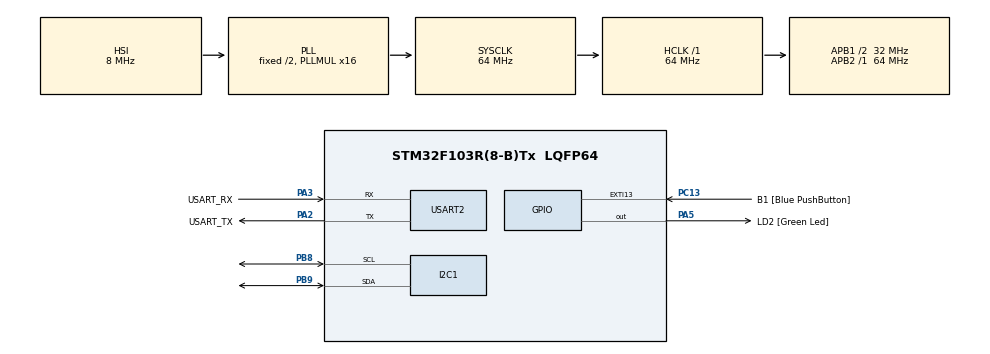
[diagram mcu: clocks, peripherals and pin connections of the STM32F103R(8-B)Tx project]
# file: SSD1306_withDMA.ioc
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Mcu.Family=STM32F1
PC15-OSC32_OUT.Mode=LSE-External-Oscillator
NVIC.DMA1_Channel6_IRQn=true\:0\:0\:false\:false\:true\:false\:true
PA2.GPIO_PuPd=GPIO_NOPULL
Dma.I2C1_TX.0.Instance=DMA1_Channel6
PD1-OSC_OUT.Mode=HSE-External-Clock-Source
NVIC.I2C1_EV_IRQn=true\:0\:0\:false\:false\:true\:true\:true
Dma.I2C1_TX.0.PeriphDataAlignment=DMA_PDATAALIGN_BYTE
Dma.I2C1_TX.0.Direction=DMA_MEMORY_TO_PERIPH
PA14.GPIO_Label=TCK
PA3.GPIO_PuPd=GPIO_NOPULL
PA2.GPIO_Speed=GPIO_SPEED_FREQ_LOW
PC13-TAMPER-RTC.Signal=GPXTI13
PD0-OSC_IN.Signal=RCC_OSC_IN
RCC.APB1CLKDivider=RCC_HCLK_DIV2
PC14-OSC32_IN.Signal=RCC_OSC32_IN
PA3.GPIO_Speed=GPIO_SPEED_FREQ_LOW
RCC.SYSCLKSource=RCC_SYSCLKSOURCE_PLLCLK
ProjectManager.StackSize=0x400
PD1-OSC_OUT.Signal=RCC_OSC_OUT
PA3.Mode=Asynchronous
PA13.Signal=SYS_JTMS-SWDIO
ProjectManager.TargetToolchain=STM32CubeIDE
I2C1.I2C_Mode=I2C_Fast
PA3.GPIO_Mode=GPIO_MODE_AF_PP
RCC.HCLKFreq_Value=64000000
PB9.Mode=I2C
RCC.APB2TimFreq_Value=64000000
Dma.I2C1_TX.0.Priority=DMA_PRIORITY_LOW
RCC.USBFreq_Value=64000000
PC15-OSC32_OUT.Signal=RCC_OSC32_OUT
RCC.AHBFreq_Value=64000000
PD0-OSC_IN.Mode=HSE-External-Clock-Source
NVIC.EXTI15_10_IRQn=true\:0\:0\:false\:false\:true\:true\:true
PA5.Signal=GPIO_Output
board=NUCLEO-F103RB
RCC.RTCClockSelection=RCC_RTCCLKSOURCE_LSE
PC13-TAMPER-RTC.GPIO_Label=B1 [Blue PushButton]
RCC.PLLMUL=RCC_PLL_MUL16
RCC.APB2Freq_Value=64000000
PC14-OSC32_IN.Mode=LSE-External-Oscillator
PA5.GPIO_ModeDefaultOutputPP=GPIO_MODE_OUTPUT_PP
PA14.Mode=Serial_Wire
Dma.I2C1_TX.0.MemInc=DMA_MINC_ENABLE
PA5.GPIO_PuPd=GPIO_NOPULL
PA13.Mode=Serial_Wire
Mcu.Name=STM32F103R(8-B)Tx
PA2.Signal=USART2_TX
PA13.GPIO_Label=TMS
PB3.Signal=SYS_JTDO-TRACESWO
RCC.SYSCLKFreq_VALUE=64000000
Dma.I2C1_TX.0.PeriphInc=DMA_PINC_DISABLE
Mcu.Package=LQFP64
PB9.Signal=I2C1_SDA
PA5.GPIO_Label=LD2 [Green Led]
USART2.VirtualMode=VM_ASYNC
PC13-TAMPER-RTC.GPIO_PuPd=GPIO_NOPULL
PA2.GPIO_Label=USART_TX
PA14.Signal=SYS_JTCK-SWCLK
ProjectManager.HeapSize=0x200
Dma.I2C1_TX.0.MemDataAlignment=DMA_MDATAALIGN_BYTE
PA5.GPIO_Speed=GPIO_SPEED_FREQ_LOW
NVIC.PriorityGroup=NVIC_PRIORITYGROUP_4
PB8.Mode=I2C
RCC.APB1TimFreq_Value=64000000
PA2.Mode=Asynchronous
PB8.Signal=I2C1_SCL
Dma.I2C1_TX.0.Mode=DMA_NORMAL
Dma.Request0=I2C1_TX
RCC.APB1Freq_Value=32000000
PA3.GPIO_Label=USART_RX
PA3.Signal=USART2_RX
PA2.GPIO_Mode=GPIO_MODE_AF_PP
PB3.GPIO_Label=SWO

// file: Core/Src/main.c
/* USER CODE BEGIN Header */
/**
  ******************************************************************************
  * @file           : main.c
  * @brief          : Main program body
  ******************************************************************************
  * @attention
  *
  * <h2><center>&copy; Copyright (c) 2021 STMicroelectronics.
  * All rights reserved.</center></h2>
  *
  * This software component is licensed by ST under BSD 3-Clause license,
  * the "License"; You may not use this file except in compliance with the
  * License. You may obtain a copy of the License at:
  *                        opensource.org/licenses/BSD-3-Clause
  *
  ******************************************************************************
  */
/* USER CODE END Header */
#include "main.h"
#include "dma.h"
#include "i2c.h"
#include "usart.h"
#include "gpio.h"

/* USER CODE BEGIN Includes */
#include "ssd1306.h"
#include "image.h"
/* USER CODE END Includes */

void SystemClock_Config(void);

/* USER CODE BEGIN 0 */
void drawLines()
{
  for (int16_t i = 0; i < ssd1306_GetWidth(); i += 4)
  {
    ssd1306_DrawLine(0, 0, i, ssd1306_GetHeight() - 1);
    ssd1306_UpdateScreen();
    HAL_Delay(10);
  }
  for (int16_t i = 0; i < ssd1306_GetHeight(); i += 4)
  {
    ssd1306_DrawLine(0, 0, ssd1306_GetWidth() - 1, i);
    ssd1306_UpdateScreen();
    HAL_Delay(10);
  }
  HAL_Delay(250);

  ssd1306_Clear();
  for (int16_t i = 0; i < ssd1306_GetWidth(); i += 4)
  {
   ssd1306_DrawLine(0, ssd1306_GetHeight() - 1, i, 0);
   ssd1306_UpdateScreen();
   HAL_Delay(10);
  }
  for (int16_t i = ssd1306_GetHeight() - 1; i >= 0; i -= 4)
  {
   ssd1306_DrawLine(0, ssd1306_GetHeight() - 1, ssd1306_GetWidth() - 1, i);
   ssd1306_UpdateScreen();
   HAL_Delay(10);
  }
  HAL_Delay(250);
  ssd1306_Clear();
  for (int16_t i = ssd1306_GetWidth() - 1; i >= 0; i -= 4)
  {
    ssd1306_DrawLine(ssd1306_GetWidth() - 1, ssd1306_GetHeight() - 1, i, 0);
    ssd1306_UpdateScreen();
    HAL_Delay(10);
  }
  for (int16_t i = ssd1306_GetHeight() - 1; i >= 0; i -= 4)
  {
    ssd1306_DrawLine(ssd1306_GetWidth() - 1, ssd1306_GetHeight() - 1, 0, i);
    ssd1306_UpdateScreen();
    HAL_Delay(10);
  }
  HAL_Delay(250);
  ssd1306_Clear();
  for (int16_t i = 0; i < ssd1306_GetHeight(); i += 4)
  {
    ssd1306_DrawLine(ssd1306_GetWidth() - 1, 0, 0, i);
    ssd1306_UpdateScreen();
    HAL_Delay(10);
  }
  for (int16_t i = 0; i < ssd1306_GetWidth(); i += 4)
  {
    ssd1306_DrawLine(ssd1306_GetWidth() - 1, 0, i, ssd1306_GetHeight() - 1);
    ssd1306_UpdateScreen();
    HAL_Delay(10);
  }
  HAL_Delay(250);
}

// Adapted from Adafruit_SSD1306
void drawRect(void)
{
  for (int16_t i = 0; i < ssd1306_GetHeight() / 2; i += 2)
  {
    ssd1306_DrawRect(i, i, ssd1306_GetWidth() - 2 * i, ssd1306_GetHeight() - 2 * i);
    ssd1306_UpdateScreen();
    HAL_Delay(10);
  }
}

// Adapted from Adafruit_SSD1306
void fillRect(void) {
  uint8_t color = 1;
  for (int16_t i = 0; i < ssd1306_GetHeight() / 2; i += 3)
  {
    ssd1306_SetColor((color % 2 == 0) ? Black : White); // alternate colors
    ssd1306_FillRect(i, i, ssd1306_GetWidth() - i * 2, ssd1306_GetHeight() - i * 2);
    ssd1306_UpdateScreen();
    HAL_Delay(10);
    color++;
  }
  // Reset back to WHITE
  ssd1306_SetColor(White);
}

// Adapted from Adafruit_SSD1306
void drawCircle(void)
{
  for (int16_t i = 0; i < ssd1306_GetHeight(); i += 2)
  {
    ssd1306_DrawCircle(ssd1306_GetWidth() / 2, ssd1306_GetHeight() / 2, i);
    ssd1306_UpdateScreen();
    HAL_Delay(10);
  }
  HAL_Delay(1000);
  ssd1306_Clear();

  // This will draw the part of the circel in quadrant 1
  // Quadrants are numberd like this:
  //   0010 | 0001
  //  ------|-----
  //   0100 | 1000
  //
  ssd1306_DrawCircleQuads(ssd1306_GetWidth() / 2, ssd1306_GetHeight() / 2, ssd1306_GetHeight() / 4, 0b00000001);
  ssd1306_UpdateScreen();
  HAL_Delay(200);
  ssd1306_DrawCircleQuads(ssd1306_GetWidth() / 2, ssd1306_GetHeight() / 2, ssd1306_GetHeight() / 4, 0b00000011);
  ssd1306_UpdateScreen();
  HAL_Delay(200);
  ssd1306_DrawCircleQuads(ssd1306_GetWidth() / 2, ssd1306_GetHeight() / 2, ssd1306_GetHeight() / 4, 0b00000111);
  ssd1306_UpdateScreen();
  HAL_Delay(200);
  ssd1306_DrawCircleQuads(ssd1306_GetWidth() / 2, ssd1306_GetHeight() / 2, ssd1306_GetHeight() / 4, 0b00001111);
  ssd1306_UpdateScreen();
}

void drawProgressBarDemo(int counter)
{
 char str[128];
  // draw the progress bar
  ssd1306_DrawProgressBar(0, 32, 120, 10, counter);

  // draw the percentage as String
  ssd1306_SetCursor(64, 15);
  sprintf(str, "%i%%", counter);
  ssd1306_WriteString(str, Font_7x10);
  ssd1306_UpdateScreen();
}
/* USER CODE END 0 */

int main(void)
{

  /* MCU Configuration--------------------------------------------------------*/

  /* Reset of all peripherals, Initializes the Flash interface and the Systick. */
  HAL_Init();

  /* Configure the system clock */
  SystemClock_Config();

  /* Initialize all configured peripherals */
  MX_GPIO_Init();
  MX_DMA_Init();
  MX_USART2_UART_Init();
  MX_I2C1_Init();
  /* USER CODE BEGIN 2 */
  ssd1306_Init();
   ssd1306_FlipScreenVertically();
   ssd1306_Clear();
   ssd1306_SetColor(White);
  /* USER CODE END 2 */

  /* Infinite loop */
  /* USER CODE BEGIN WHILE */
  while (1)
  {
	  drawLines();
	  HAL_Delay(1000);
	  ssd1306_Clear();

	  drawRect();
	  HAL_Delay(1000);
	  ssd1306_Clear();

	  fillRect();
	  HAL_Delay(1000);
	  ssd1306_Clear();

	  drawCircle();
	  HAL_Delay(1000);
	  ssd1306_Clear();

	  for(int i = 0; i < 100; i++)
	  {
	    drawProgressBarDemo(i);
	    HAL_Delay(25);
	    ssd1306_Clear();
	  }

	  ssd1306_DrawRect(0, 0, ssd1306_GetWidth(), ssd1306_GetHeight());
	  ssd1306_SetCursor(8, 20);
	  ssd1306_WriteString("SSD1306", Font_16x26);
	  ssd1306_UpdateScreen();
	  HAL_Delay(2000);
	  ssd1306_Clear();
	  ssd1306_DrawBitmap(0, 0, 128, 64, stm32fan);
	  ssd1306_UpdateScreen();
	  HAL_Delay(2000);
	  ssd1306_InvertDisplay();
	  HAL_Delay(2000);
	  ssd1306_NormalDisplay();
	  ssd1306_Clear();
    /* USER CODE END WHILE */

  }
}

void SystemClock_Config(void)
{
  RCC_OscInitTypeDef RCC_OscInitStruct = {0};
  RCC_ClkInitTypeDef RCC_ClkInitStruct = {0};

  /** Initializes the RCC Oscillators according to the specified parameters
  * in the RCC_OscInitTypeDef structure.
  */
  RCC_OscInitStruct.OscillatorType = RCC_OSCILLATORTYPE_HSI;
  RCC_OscInitStruct.HSIState = RCC_HSI_ON;
  RCC_OscInitStruct.HSICalibrationValue = RCC_HSICALIBRATION_DEFAULT;
  RCC_OscInitStruct.PLL.PLLState = RCC_PLL_ON;
  RCC_OscInitStruct.PLL.PLLSource = RCC_PLLSOURCE_HSI_DIV2;
  RCC_OscInitStruct.PLL.PLLMUL = RCC_PLL_MUL16;
  if (HAL_RCC_OscConfig(&RCC_OscInitStruct) != HAL_OK)
  {
    Error_Handler();
  }
  /** Initializes the CPU, AHB and APB buses clocks
  */
  RCC_ClkInitStruct.ClockType = RCC_CLOCKTYPE_HCLK|RCC_CLOCKTYPE_SYSCLK
                              |RCC_CLOCKTYPE_PCLK1|RCC_CLOCKTYPE_PCLK2;
  RCC_ClkInitStruct.SYSCLKSource = RCC_SYSCLKSOURCE_PLLCLK;
  RCC_ClkInitStruct.AHBCLKDivider = RCC_SYSCLK_DIV1;
  RCC_ClkInitStruct.APB1CLKDivider = RCC_HCLK_DIV2;
  RCC_ClkInitStruct.APB2CLKDivider = RCC_HCLK_DIV1;

  if (HAL_RCC_ClockConfig(&RCC_ClkInitStruct, FLASH_LATENCY_2) != HAL_OK)
  {
    Error_Handler();
  }
}

void Error_Handler(void)
{
  __disable_irq();
  while (1)
  {
  }
}

/************************ (C) COPYRIGHT STMicroelectronics *****END OF FILE****/
